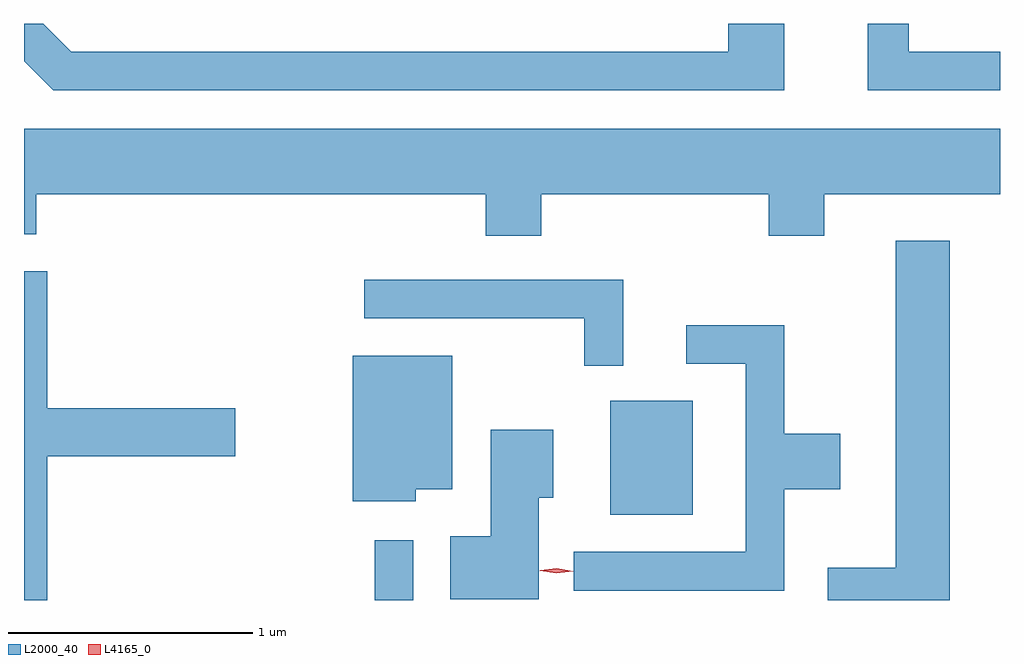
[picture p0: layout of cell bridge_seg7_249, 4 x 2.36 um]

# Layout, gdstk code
import gdstk
lib = gdstk.Library(unit=1e-6, precision=1e-09)
def R(c, l, rs):  # rectangles x0, y0, x1, y1
    for r in rs: c.add(gdstk.rectangle(r[:2], r[2:], *l))
def P(c, l, *ps):  # polygons
    for p in ps: c.add(gdstk.Polygon(p, *l))
L2000_40 = (2000, 40)
L4165_0 = (4165, 0)

bridge_seg7_249 = lib.new_cell('bridge_seg7_249')
R(bridge_seg7_249, L2000_40, [(1728.286,1668.252,1728.444,1668.498), (1729.251,1668.601,1729.589,1669.069)])
P(bridge_seg7_249, L2000_40, [(1729.964,1670.613),(1729.736,1670.613),(1729.736,1670.499),(1727.042,1670.499),(1726.928,1670.613),(1726.849,1670.613),(1726.849,1670.461),(1726.969,1670.341),(1729.964,1670.341)],
  [(1730.849,1670.499),(1730.474,1670.499),(1730.474,1670.613),(1730.306,1670.613),(1730.306,1670.341),(1730.849,1670.341)],
  [(1728.969,1669.916),(1729.901,1669.916),(1729.901,1669.746),(1730.129,1669.746),(1730.129,1669.916),(1730.849,1669.916),(1730.849,1670.184),(1726.849,1670.184),(1726.849,1669.751),(1726.899,1669.751),(1726.899,1669.916),(1728.741,1669.916),(1728.741,1669.746),(1728.969,1669.746)],
  [(1730.644,1669.724),(1730.421,1669.724),(1730.421,1668.384),(1730.143,1668.384),(1730.143,1668.252),(1730.644,1668.252)],
  [(1726.944,1668.841),(1727.714,1668.841),(1727.714,1669.039),(1726.944,1669.039),(1726.944,1669.599),(1726.849,1669.599),(1726.849,1668.252),(1726.944,1668.252)],
  [(1729.304,1669.564),(1728.243,1669.564),(1728.243,1669.406),(1729.146,1669.406),(1729.146,1669.213),(1729.304,1669.213)],
  [(1729.964,1668.706),(1730.194,1668.706),(1730.194,1668.934),(1729.964,1668.934),(1729.964,1669.379),(1729.563,1669.379),(1729.563,1669.221),(1729.806,1669.221),(1729.806,1668.449),(1729.103,1668.449),(1729.103,1668.291),(1729.964,1668.291)],
  [(1728.454,1668.706),(1728.604,1668.706),(1728.604,1669.254),(1728.196,1669.254),(1728.196,1668.656),(1728.454,1668.656)],
  [(1728.959,1668.671),(1729.019,1668.671),(1729.019,1668.949),(1728.761,1668.949),(1728.761,1668.514),(1728.596,1668.514),(1728.596,1668.256),(1728.959,1668.256)])
P(bridge_seg7_249, L4165_0, [(1729.031,1668.362),(1728.964,1668.373),(1728.963,1668.373),(1728.964,1668.374),(1729.032,1668.382),(1729.1,1668.371),(1729.1,1668.37),(1729.1,1668.37)])

lib.write_gds('bridge_seg7_249.gds')
